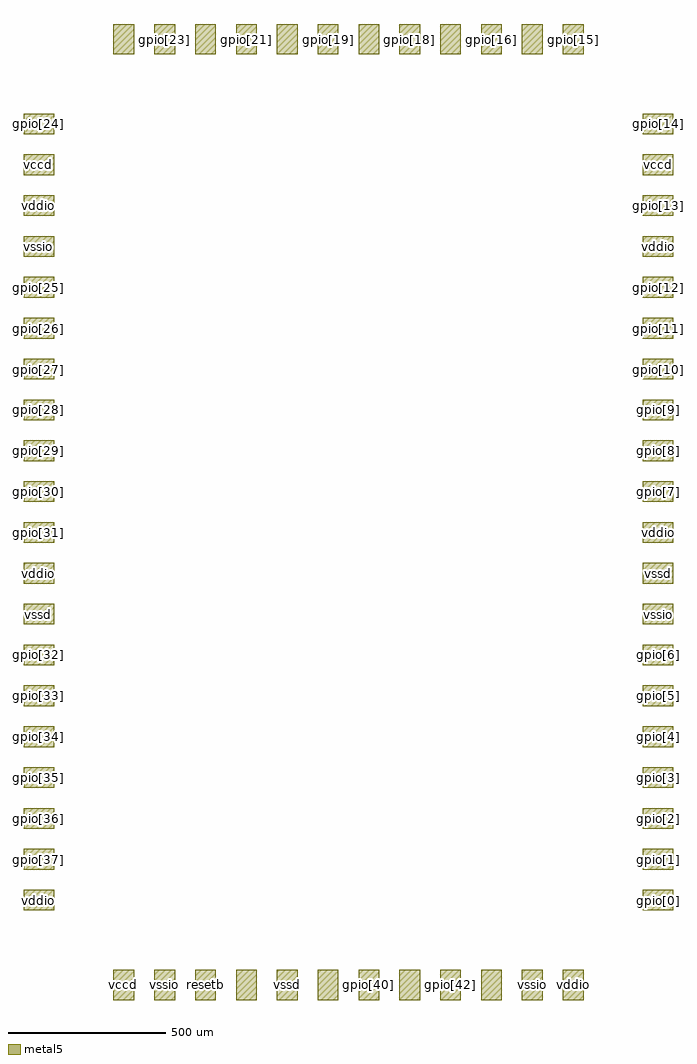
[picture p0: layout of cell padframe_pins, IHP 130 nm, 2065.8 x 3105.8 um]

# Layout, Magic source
magic
tech ihp-sg13cmos5l
<< metal5 >>
rect 28710 301210 35290 310790
rect 41710 301210 48290 310790
rect 54710 301210 61290 310790
rect 67710 301210 74290 310790
rect 80710 301210 87290 310790
rect 93710 301210 100290 310790
rect 106710 301210 113290 310790
rect 119710 301210 126290 310790
rect 132710 301210 139290 310790
rect 145710 301210 152290 310790
rect 158710 301210 165290 310790
rect 171710 301210 178290 310790
rect 210 275710 9790 282290
rect 197210 275710 206790 282290
rect 210 262710 9790 269290
rect 197210 262710 206790 269290
rect 210 249710 9790 256290
rect 197210 249710 206790 256290
rect 210 236710 9790 243290
rect 197210 236710 206790 243290
rect 210 223710 9790 230290
rect 197210 223710 206790 230290
rect 210 210710 9790 217290
rect 197210 210710 206790 217290
rect 210 197710 9790 204290
rect 197210 197710 206790 204290
rect 210 184710 9790 191290
rect 197210 184710 206790 191290
rect 210 171710 9790 178290
rect 197210 171710 206790 178290
rect 210 158710 9790 165290
rect 197210 158710 206790 165290
rect 210 145710 9790 152290
rect 197210 145710 206790 152290
rect 210 132710 9790 139290
rect 197210 132710 206790 139290
rect 210 119710 9790 126290
rect 197210 119710 206790 126290
rect 210 106710 9790 113290
rect 197210 106710 206790 113290
rect 210 93710 9790 100290
rect 197210 93710 206790 100290
rect 210 80710 9790 87290
rect 197210 80710 206790 87290
rect 210 67710 9790 74290
rect 197210 67710 206790 74290
rect 210 54710 9790 61290
rect 197210 54710 206790 61290
rect 210 41710 9790 48290
rect 197210 41710 206790 48290
rect 210 28710 9790 35290
rect 197210 28710 206790 35290
rect 28710 210 35290 9790
rect 41710 210 48290 9790
rect 54710 210 61290 9790
rect 67710 210 74290 9790
rect 80710 210 87290 9790
rect 93710 210 100290 9790
rect 106710 210 113290 9790
rect 119710 210 126290 9790
rect 132710 210 139290 9790
rect 145710 210 152290 9790
rect 158710 210 165290 9790
rect 171710 210 178290 9790
<< labels >>
flabel metal5 28710 210 35290 9790 0 FreeSans 16000 0 0 0 vccd
port 1 nsew
flabel metal5 41710 210 48290 9790 0 FreeSans 16000 0 0 0 vssio
port 2 nsew
flabel metal5 54710 210 61290 9790 0 FreeSans 16000 0 0 0 resetb
port 3 nsew
flabel metal5 67710 210 74290 9790 0 FreeSans 16000 0 0 0 gpio[38]
port 4 nsew
flabel metal5 80710 210 87290 9790 0 FreeSans 16000 0 0 0 vssd
port 5 nsew
flabel metal5 93710 210 100290 9790 0 FreeSans 16000 0 0 0 gpio[39]
port 6 nsew
flabel metal5 106710 210 113290 9790 0 FreeSans 16000 0 0 0 gpio[40]
port 7 nsew
flabel metal5 119710 210 126290 9790 0 FreeSans 16000 0 0 0 gpio[41]
port 8 nsew
flabel metal5 132710 210 139290 9790 0 FreeSans 16000 0 0 0 gpio[42]
port 9 nsew
flabel metal5 145710 210 152290 9790 0 FreeSans 16000 0 0 0 gpio[43]
port 10 nsew
flabel metal5 158710 210 165290 9790 0 FreeSans 16000 0 0 0 vssio
port 2 nsew
flabel metal5 171710 210 178290 9790 0 FreeSans 16000 0 0 0 vddio
port 11 nsew
flabel metal5 210 275710 9790 282290 0 FreeSans 16000 0 0 0 gpio[24]
port 37 nsew
flabel metal5 210 262710 9790 269290 0 FreeSans 16000 0 0 0 vccd
port 1 nsew
flabel metal5 210 249710 9790 256290 0 FreeSans 16000 0 0 0 vddio
port 11 nsew
flabel metal5 210 236710 9790 243290 0 FreeSans 16000 0 0 0 vssio
port 2 nsew
flabel metal5 210 223710 9790 230290 0 FreeSans 16000 0 0 0 gpio[25]
port 38 nsew
flabel metal5 210 210710 9790 217290 0 FreeSans 16000 0 0 0 gpio[26]
port 39 nsew
flabel metal5 210 197710 9790 204290 0 FreeSans 16000 0 0 0 gpio[27]
port 40 nsew
flabel metal5 210 184710 9790 191290 0 FreeSans 16000 0 0 0 gpio[28]
port 41 nsew
flabel metal5 210 171710 9790 178290 0 FreeSans 16000 0 0 0 gpio[29]
port 42 nsew
flabel metal5 210 158710 9790 165290 0 FreeSans 16000 0 0 0 gpio[30]
port 43 nsew
flabel metal5 210 145710 9790 152290 0 FreeSans 16000 0 0 0 gpio[31]
port 44 nsew
flabel metal5 210 132710 9790 139290 0 FreeSans 16000 0 0 0 vddio
port 11 nsew
flabel metal5 210 119710 9790 126290 0 FreeSans 16000 0 0 0 vssd
port 5 nsew
flabel metal5 210 106710 9790 113290 0 FreeSans 16000 0 0 0 gpio[32]
port 45 nsew
flabel metal5 210 93710 9790 100290 0 FreeSans 16000 0 0 0 gpio[33]
port 46 nsew
flabel metal5 210 80710 9790 87290 0 FreeSans 16000 0 0 0 gpio[34]
port 47 nsew
flabel metal5 210 67710 9790 74290 0 FreeSans 16000 0 0 0 gpio[35]
port 48 nsew
flabel metal5 210 54710 9790 61290 0 FreeSans 16000 0 0 0 gpio[36]
port 49 nsew
flabel metal5 210 41710 9790 48290 0 FreeSans 16000 0 0 0 gpio[37]
port 50 nsew
flabel metal5 210 28710 9790 35290 0 FreeSans 16000 0 0 0 vddio
port 11 nsew
flabel metal5 171710 301210 178290 310790 0 FreeSans 16000 0 0 0 gpio[15]
port 27 nsew
flabel metal5 158710 301210 165290 310790 0 FreeSans 16000 0 0 0 vssio
port 2 nsew
flabel metal5 145710 301210 152290 310790 0 FreeSans 16000 0 0 0 gpio[16]
port 28 nsew
flabel metal5 132710 301210 139290 310790 0 FreeSans 16000 0 0 0 gpio[17]
port 29 nsew
flabel metal5 119710 301210 126290 310790 0 FreeSans 16000 0 0 0 gpio[18]
port 30 nsew
flabel metal5 106710 301210 113290 310790 0 FreeSans 16000 0 0 0 vssio
port 2 nsew
flabel metal5 93710 301210 100290 310790 0 FreeSans 16000 0 0 0 gpio[19]
port 31 nsew
flabel metal5 80710 301210 87290 310790 0 FreeSans 16000 0 0 0 gpio[20]
port 32 nsew
flabel metal5 67710 301210 74290 310790 0 FreeSans 16000 0 0 0 gpio[21]
port 33 nsew
flabel metal5 54710 301210 61290 310790 0 FreeSans 16000 0 0 0 gpio[22]
port 34 nsew
flabel metal5 41710 301210 48290 310790 0 FreeSans 16000 0 0 0 gpio[23]
port 35 nsew
flabel metal5 28710 301210 35290 310790 0 FreeSans 16000 0 0 0 option
port 36 nsew
flabel metal5 197210 28710 206790 35290 0 FreeSans 16000 0 0 0 gpio[0]
port 12 nsew
flabel metal5 197210 41710 206790 48290 0 FreeSans 16000 0 0 0 gpio[1]
port 13 nsew
flabel metal5 197210 54710 206790 61290 0 FreeSans 16000 0 0 0 gpio[2]
port 14 nsew
flabel metal5 197210 67710 206790 74290 0 FreeSans 16000 0 0 0 gpio[3]
port 15 nsew
flabel metal5 197210 80710 206790 87290 0 FreeSans 16000 0 0 0 gpio[4]
port 16 nsew
flabel metal5 197210 93710 206790 100290 0 FreeSans 16000 0 0 0 gpio[5]
port 17 nsew
flabel metal5 197210 106710 206790 113290 0 FreeSans 16000 0 0 0 gpio[6]
port 18 nsew
flabel metal5 197210 119710 206790 126290 0 FreeSans 16000 0 0 0 vssio
port 2 nsew
flabel metal5 197210 132710 206790 139290 0 FreeSans 16000 0 0 0 vssd
port 5 nsew
flabel metal5 197210 145710 206790 152290 0 FreeSans 16000 0 0 0 vddio
port 11 nsew
flabel metal5 197210 158710 206790 165290 0 FreeSans 16000 0 0 0 gpio[7]
port 19 nsew
flabel metal5 197210 171710 206790 178290 0 FreeSans 16000 0 0 0 gpio[8]
port 20 nsew
flabel metal5 197210 184710 206790 191290 0 FreeSans 16000 0 0 0 gpio[9]
port 21 nsew
flabel metal5 197210 197710 206790 204290 0 FreeSans 16000 0 0 0 gpio[10]
port 22 nsew
flabel metal5 197210 210710 206790 217290 0 FreeSans 16000 0 0 0 gpio[11]
port 23 nsew
flabel metal5 197210 223710 206790 230290 0 FreeSans 16000 0 0 0 gpio[12]
port 24 nsew
flabel metal5 197210 236710 206790 243290 0 FreeSans 16000 0 0 0 vddio
port 11 nsew
flabel metal5 197210 249710 206790 256290 0 FreeSans 16000 0 0 0 gpio[13]
port 25 nsew
flabel metal5 197210 262710 206790 269290 0 FreeSans 16000 0 0 0 vccd
port 1 nsew
flabel metal5 197210 275710 206790 282290 0 FreeSans 16000 0 0 0 gpio[14]
port 26 nsew
<< end >>
